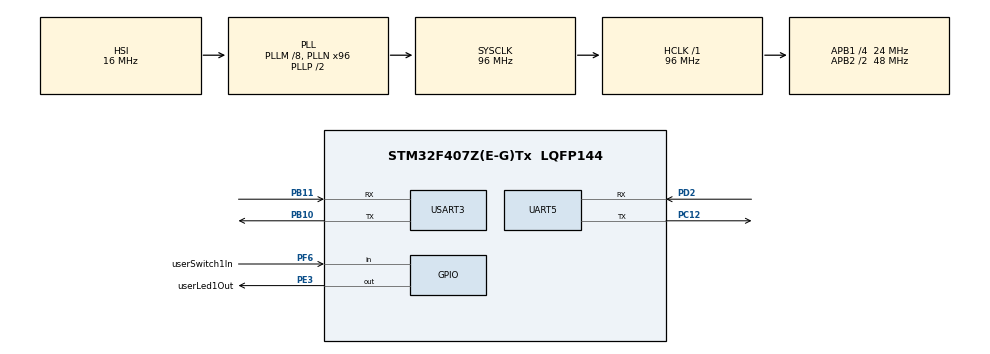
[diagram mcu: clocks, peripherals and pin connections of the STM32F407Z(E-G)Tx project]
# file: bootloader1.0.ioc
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Mcu.Family=STM32F4
Mcu.Name=STM32F407Z(E-G)Tx
Mcu.Package=LQFP144
NVIC.PriorityGroup=NVIC_PRIORITYGROUP_4
PB10.Mode=Asynchronous
PB10.Signal=USART3_TX
PB11.Mode=Asynchronous
PB11.Signal=USART3_RX
PC12.Mode=Asynchronous
PC12.Signal=UART5_TX
PD2.Mode=Asynchronous
PD2.Signal=UART5_RX
PE3.GPIO_Label=userLed1Out
PE3.Signal=GPIO_Output
PF6.GPIO_Label=userSwitch1In
PF6.GPIO_PuPd=GPIO_PULLUP
PF6.Signal=GPIO_Input
ProjectManager.HeapSize=0x200
ProjectManager.StackSize=0x400
ProjectManager.TargetToolchain=STM32CubeIDE
RCC.48MHZClocksFreq_Value=48000000
RCC.AHBFreq_Value=96000000
RCC.APB1CLKDivider=RCC_HCLK_DIV4
RCC.APB1Freq_Value=24000000
RCC.APB1TimFreq_Value=48000000
RCC.APB2CLKDivider=RCC_HCLK_DIV2
RCC.APB2Freq_Value=48000000
RCC.APB2TimFreq_Value=96000000
RCC.CortexFreq_Value=96000000
RCC.HCLKFreq_Value=96000000
RCC.HSE_VALUE=25000000
RCC.HSI_VALUE=16000000
RCC.LSE_VALUE=32768
RCC.PLLM=8
RCC.PLLN=96
RCC.SYSCLKFreq_VALUE=96000000
RCC.SYSCLKSource=RCC_SYSCLKSOURCE_PLLCLK
RCC.VCOOutputFreq_Value=192000000
UART5.VirtualMode=Asynchronous
USART3.VirtualMode=VM_ASYNC
board=custom

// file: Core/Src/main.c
/* USER CODE BEGIN Header */
/**
 ******************************************************************************
 * @file           : main.c
 * @brief          : Main program body
 ******************************************************************************
 * @attention
 *
 * Copyright (c) 2024 STMicroelectronics.
 * All rights reserved.
 *
 * This software is licensed under terms that can be found in the LICENSE file
 * in the root directory of this software component.
 * If no LICENSE file comes with this software, it is provided AS-IS.
 *
 ******************************************************************************
 */
/* USER CODE END Header */
#include "main.h"
#include "usart.h"
#include "gpio.h"

/* USER CODE BEGIN Includes */
#include "stdio.h"
#include "etx_ota_update.h"
/* USER CODE END Includes */

/* USER CODE BEGIN PD */
#define appAddress 0x08040000
/* USER CODE END PD */

/* USER CODE BEGIN PM */
#define MAJOR 0   // BL Major version Number
#define MINOR 2   // BL Minor version Number
/* USER CODE END PM */

/* USER CODE BEGIN PV */
const uint8_t BL_Version[2] = { MAJOR, MINOR };
/* USER CODE END PV */

void SystemClock_Config(void);
/* USER CODE BEGIN PFP */
static void gotoApp(void);
/* USER CODE END PFP */

int main(void)
{

  /* MCU Configuration--------------------------------------------------------*/

  /* Reset of all peripherals, Initializes the Flash interface and the Systick. */
  HAL_Init();

  /* Configure the system clock */
  SystemClock_Config();

  /* Initialize all configured peripherals */
  MX_GPIO_Init();
  MX_UART5_Init();
  MX_USART3_UART_Init();
  /* USER CODE BEGIN 2 */
	// Turn ON the Green Led to tell the user that Bootloader is running
	  HAL_GPIO_WritePin(userLed1Out_GPIO_Port, userLed1Out_Pin, GPIO_PIN_RESET );    //Green LED ON
	  printf("Starting Bootloader(%d.%d)\r\n", BL_Version[0], BL_Version[1] );
	  //HAL_Delay(2000);   //2sec delay for nothing

	  /* Check the GPIO for 3 seconds */
	  GPIO_PinState OTA_Pin_state;
	  uint32_t end_tick = HAL_GetTick() + 3000;   // from now to 3 Seconds

	  printf("Press the User Button K3 to trigger OTA update...\r\n");
	  do
	  {
	    OTA_Pin_state = HAL_GPIO_ReadPin( userSwitch1In_GPIO_Port, userSwitch1In_Pin );
	    uint32_t current_tick = HAL_GetTick();

	    /* Check the button is pressed or not for 3seconds */
	    if( ( OTA_Pin_state != GPIO_PIN_SET ) || ( current_tick > end_tick ) )
	    {
	      /* Either timeout or Button is pressed */
	      break;
	    }
	  }while( 1 );

	  /*Start the Firmware or Application update */
	  if( OTA_Pin_state == GPIO_PIN_RESET )
	  {
	    printf("Starting Firmware Download!!!\r\n");
	    /* OTA Request. Receive the data from the UART4 and flash */
	    if( etx_ota_download_and_flash() != ETX_OTA_EX_OK )
	    {
	      /* Error. Don't process. */
	      printf("OTA Update : ERROR!!! HALT!!!\r\n");
	      while( 1 );
	    }
	    else
	    {
	      /* Reset to load the new application */
	      printf("Firmware update is done!!! Rebooting...\r\n");
	      HAL_NVIC_SystemReset();
	    }
	  }

	  // Jump to application
	  gotoApp();
  /* USER CODE END 2 */

  /* Infinite loop */
	while (1) {

	}
}

void SystemClock_Config(void)
{
  RCC_OscInitTypeDef RCC_OscInitStruct = {0};
  RCC_ClkInitTypeDef RCC_ClkInitStruct = {0};

  /** Configure the main internal regulator output voltage
  */
  __HAL_RCC_PWR_CLK_ENABLE();
  __HAL_PWR_VOLTAGESCALING_CONFIG(PWR_REGULATOR_VOLTAGE_SCALE1);

  /** Initializes the RCC Oscillators according to the specified parameters
  * in the RCC_OscInitTypeDef structure.
  */
  RCC_OscInitStruct.OscillatorType = RCC_OSCILLATORTYPE_HSI;
  RCC_OscInitStruct.HSIState = RCC_HSI_ON;
  RCC_OscInitStruct.HSICalibrationValue = RCC_HSICALIBRATION_DEFAULT;
  RCC_OscInitStruct.PLL.PLLState = RCC_PLL_ON;
  RCC_OscInitStruct.PLL.PLLSource = RCC_PLLSOURCE_HSI;
  RCC_OscInitStruct.PLL.PLLM = 8;
  RCC_OscInitStruct.PLL.PLLN = 96;
  RCC_OscInitStruct.PLL.PLLP = RCC_PLLP_DIV2;
  RCC_OscInitStruct.PLL.PLLQ = 4;
  if (HAL_RCC_OscConfig(&RCC_OscInitStruct) != HAL_OK)
  {
    Error_Handler();
  }

  /** Initializes the CPU, AHB and APB buses clocks
  */
  RCC_ClkInitStruct.ClockType = RCC_CLOCKTYPE_HCLK|RCC_CLOCKTYPE_SYSCLK
                              |RCC_CLOCKTYPE_PCLK1|RCC_CLOCKTYPE_PCLK2;
  RCC_ClkInitStruct.SYSCLKSource = RCC_SYSCLKSOURCE_PLLCLK;
  RCC_ClkInitStruct.AHBCLKDivider = RCC_SYSCLK_DIV1;
  RCC_ClkInitStruct.APB1CLKDivider = RCC_HCLK_DIV4;
  RCC_ClkInitStruct.APB2CLKDivider = RCC_HCLK_DIV2;

  if (HAL_RCC_ClockConfig(&RCC_ClkInitStruct, FLASH_LATENCY_3) != HAL_OK)
  {
    Error_Handler();
  }
}

/* USER CODE BEGIN 4 */
#ifdef __GNUC__
  /* With GCC, small printf (option LD Linker->Libraries->Small printf
     set to 'Yes') calls __io_putchar() */
int __io_putchar(int ch)
#else
int fputc(int ch, FILE *f)
#endif /* __GNUC__ */
{
  /* Place your implementation of fputc here */
  /* e.g. write a character to the UART3 and Loop until the end of transmission */
  HAL_UART_Transmit(&huart3, (uint8_t *)&ch, 1, HAL_MAX_DELAY);

  return ch;
}

static void gotoApp(void) {
	printf("/----------Jump to Application----------/\r\n");

	void (*appResetHandler)(void) = (void*)(*((volatile uint32_t*)(appAddress + 4U)));

	HAL_GPIO_WritePin(userLed1Out_GPIO_Port, userLed1Out_Pin, GPIO_PIN_SET);

	HAL_RCC_DeInit();
	HAL_DeInit();
	SysTick->CTRL = 0;
	SysTick->LOAD = 0;
	SysTick->VAL = 0;

	__set_MSP(*(volatile uint32_t*) appAddress);

// Jump to application Program
	appResetHandler(); // Call the Application Reset handler

}
/* USER CODE END 4 */

void Error_Handler(void)
{
	__disable_irq();
	while (1) {
	}
}
